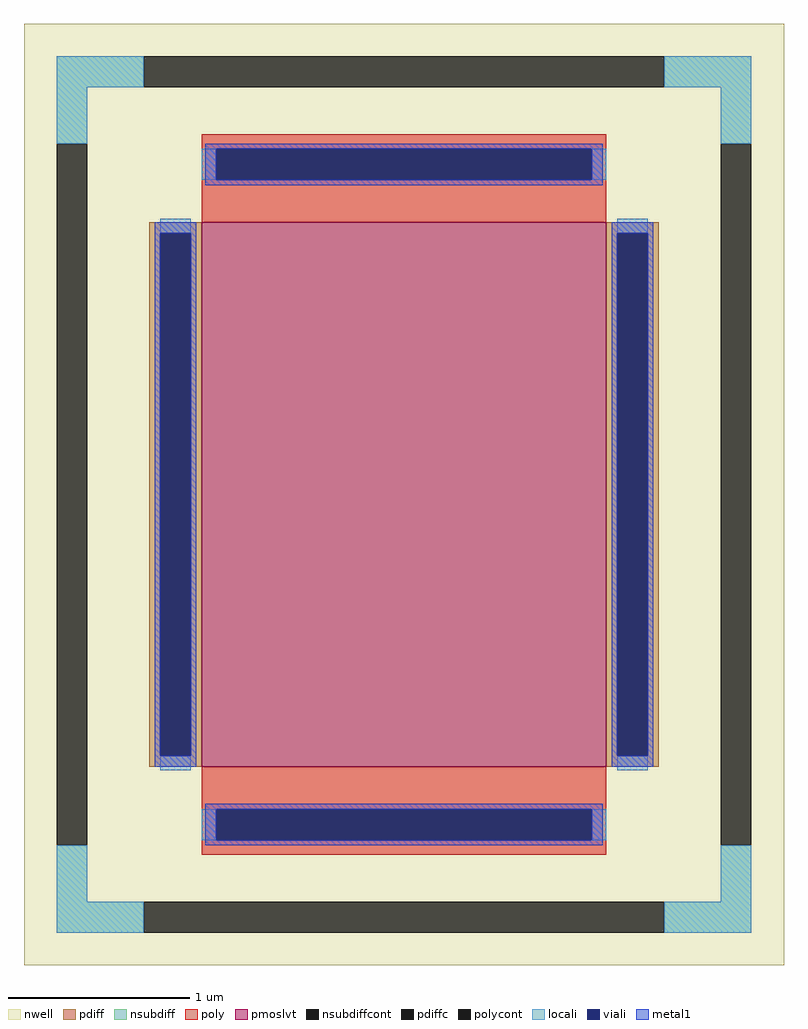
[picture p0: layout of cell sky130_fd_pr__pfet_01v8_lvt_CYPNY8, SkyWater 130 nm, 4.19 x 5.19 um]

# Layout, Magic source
magic
tech sky130A
magscale 1 2
<< nwell >>
rect -419 -519 419 519
<< pmoslvt >>
rect -223 -300 223 300
<< pdiff >>
rect -281 288 -223 300
rect -281 -288 -269 288
rect -235 -288 -223 288
rect -281 -300 -223 -288
rect 223 288 281 300
rect 223 -288 235 288
rect 269 -288 281 288
rect 223 -300 281 -288
<< pdiffc >>
rect -269 -288 -235 288
rect 235 -288 269 288
<< nsubdiff >>
rect -383 449 -287 483
rect 287 449 383 483
rect -383 387 -349 449
rect 349 387 383 449
rect -383 -449 -349 -387
rect 349 -449 383 -387
rect -383 -483 -287 -449
rect 287 -483 383 -449
<< nsubdiffcont >>
rect -287 449 287 483
rect -383 -387 -349 387
rect 349 -387 383 387
rect -287 -483 287 -449
<< poly >>
rect -223 381 223 397
rect -223 347 -207 381
rect 207 347 223 381
rect -223 300 223 347
rect -223 -347 223 -300
rect -223 -381 -207 -347
rect 207 -381 223 -347
rect -223 -397 223 -381
<< polycont >>
rect -207 347 207 381
rect -207 -381 207 -347
<< locali >>
rect -383 449 -287 483
rect 287 449 383 483
rect -383 387 -349 449
rect 349 387 383 449
rect -223 347 -207 381
rect 207 347 223 381
rect -269 288 -235 304
rect -269 -304 -235 -288
rect 235 288 269 304
rect 235 -304 269 -288
rect -223 -381 -207 -347
rect 207 -381 223 -347
rect -383 -449 -349 -387
rect 349 -449 383 -387
rect -383 -483 -287 -449
rect 287 -483 383 -449
<< viali >>
rect -207 347 207 381
rect -269 -288 -235 288
rect 235 -288 269 288
rect -207 -381 207 -347
<< metal1 >>
rect -219 381 219 387
rect -219 347 -207 381
rect 207 347 219 381
rect -219 341 219 347
rect -275 288 -229 300
rect -275 -288 -269 288
rect -235 -288 -229 288
rect -275 -300 -229 -288
rect 229 288 275 300
rect 229 -288 235 288
rect 269 -288 275 288
rect 229 -300 275 -288
rect -219 -347 219 -341
rect -219 -381 -207 -347
rect 207 -381 219 -347
rect -219 -387 219 -381
<< properties >>
string FIXED_BBOX -366 -466 366 466
string gencell sky130_fd_pr__pfet_01v8_lvt
string library sky130
string parameters w 3.0 l 2.23 m 1 nf 1 diffcov 100 polycov 100 guard 1 glc 1 grc 1 gtc 1 gbc 1 tbcov 100 rlcov 100 topc 1 botc 1 poverlap 0 doverlap 1 lmin 0.35 wmin 0.42 compatible {sky130_fd_pr__pfet_01v8  sky130_fd_pr__pfet_01v8_lvt sky130_fd_pr__pfet_01v8_hvt  sky130_fd_pr__pfet_g5v0d10v5} full_metal 1 viasrc 100 viadrn 100 viagate 100 viagb 0 viagr 0 viagl 0 viagt 0
<< end >>
